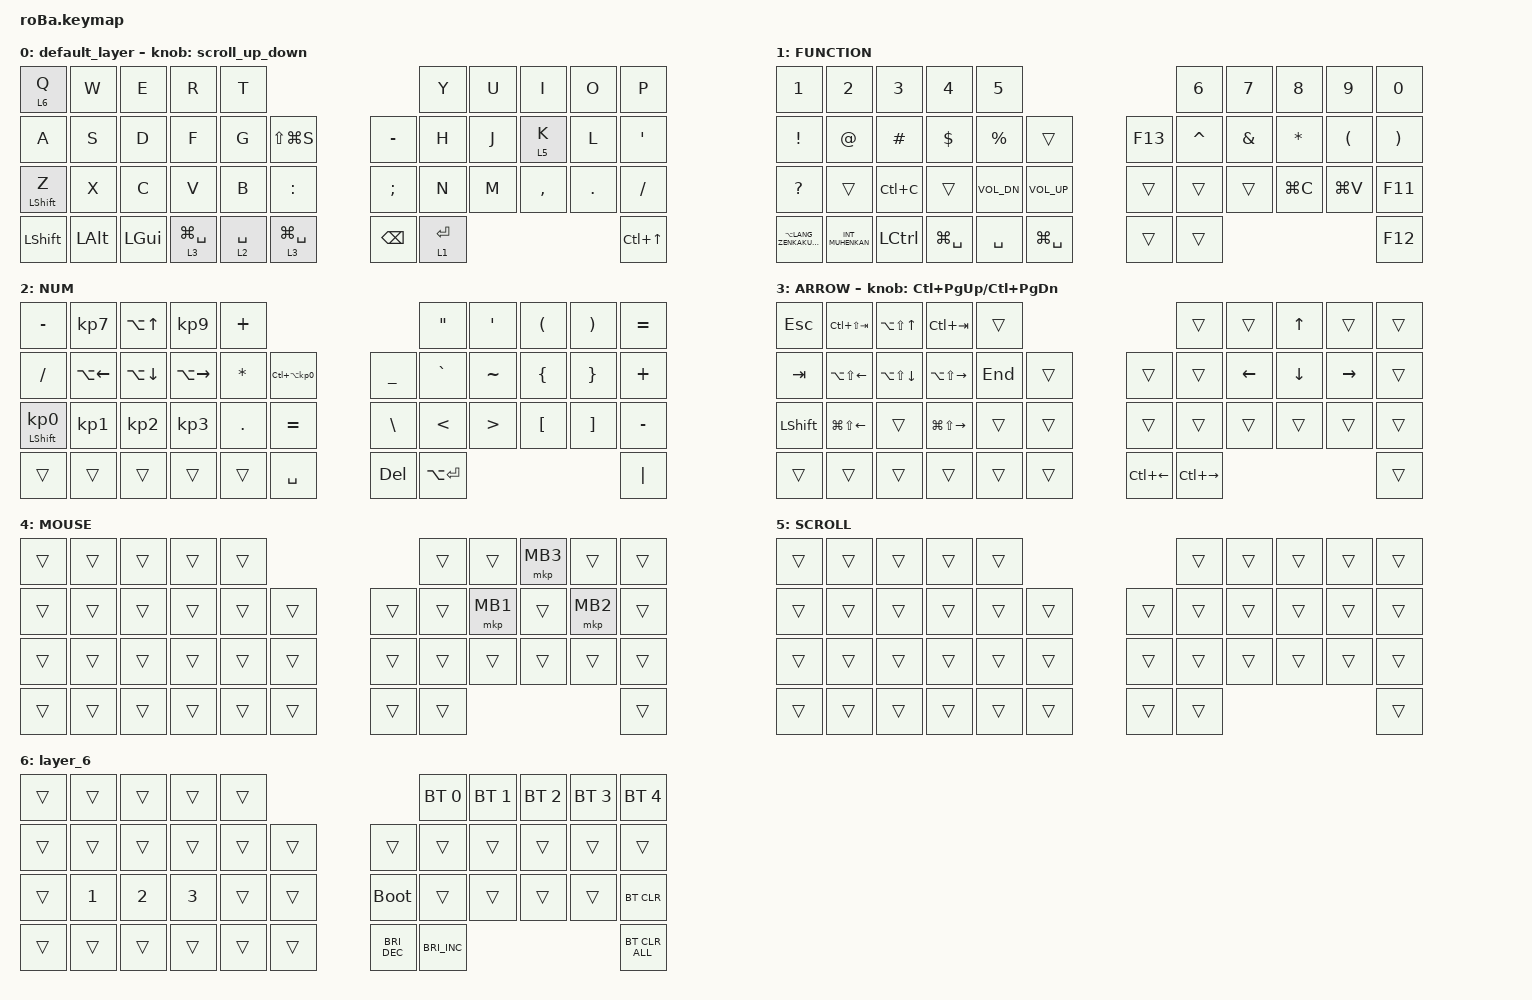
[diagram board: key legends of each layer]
#include <behaviors.dtsi>
#include <dt-bindings/zmk/bt.h>
#include <dt-bindings/zmk/keys.h>
#include <dt-bindings/zmk/pointing.h>

#define ZMK_POINTING_DEFAULT_SCRL_VAL 100
#define MOUSE 4
#define SCROLL 5
#define NUM 6

&mt {
    flavor = "balanced";
    quick-tap-ms = <0>;
};

/ {
    combos {
        compatible = "zmk,combos";

        tab {
            bindings = <&kp TAB>;
            key-positions = <11 12>;
        };

        shift_tab {
            bindings = <&kp LS(TAB)>;
            key-positions = <12 13>;
        };

        muhennkann {
            bindings = <&to_layer_0 INT_MUHENKAN>;
            key-positions = <11 10>;
        };

        double_quotation {
            bindings = <&kp DOUBLE_QUOTES>;
            key-positions = <20 21>;
        };

        eq {
            bindings = <&kp EQUAL>;
            key-positions = <24 25>;
        };
    };

    macros {
        to_layer_0: to_layer_0 {
            compatible = "zmk,behavior-macro-one-param";
            #binding-cells = <1>;
            bindings = <&to 0 &macro_param_1to1 &kp MACRO_PLACEHOLDER>;
            label = "TO_LAYER_0";
        };
    };

    behaviors {
        lt_to_layer_0: lt_to_layer_0 {
            compatible = "zmk,behavior-hold-tap";
            label = "LAYER_TAP_TO_0";
            bindings = <&mo>, <&to_layer_0>;

            #binding-cells = <2>;
            tapping-term-ms = <200>;
        };

        scroll_up_down: behavior_sensor_rotate_mouse_wheel_up_down {
            compatible = "zmk,behavior-sensor-rotate";
            #sensor-binding-cells = <0>;
            bindings = <&msc SCRL_DOWN>, <&msc SCRL_UP>;

            tap-ms = <20>;
        };
    };

    keymap {
        compatible = "zmk,keymap";

        default_layer {
            bindings = <
&lt 6 Q           &kp W         &kp E         &kp R                       &kp T                                                       &kp Y        &kp U  &kp I      &kp O    &kp P
&kp A             &kp S         &kp D         &kp F                       &kp G        &kp LS(LG(S))                   &kp MINUS      &kp H        &kp J  &lt 5 K    &kp L    &kp SQT
&mt LEFT_SHIFT Z  &kp X         &kp C         &kp V                       &kp B        &kp COLON                       &kp SEMICOLON  &kp N        &kp M  &kp COMMA  &kp DOT  &kp SLASH
&kp LEFT_SHIFT    &kp LEFT_ALT  &kp LEFT_GUI  &lt_to_layer_0 3 LG(SPACE)  &lt 2 SPACE  &lt_to_layer_0 3 LG(SPACE)      &kp BACKSPACE  &lt 1 ENTER                             &kp LC(UP_ARROW)
            >;

            sensor-bindings = <&scroll_up_down>;
        };

        FUNCTION {
            bindings = <
&kp NUMBER_1                 &kp NUMBER_2      &kp NUMBER_3      &kp NUMBER_4   &kp N5                                      &kp NUMBER_6  &kp N7         &kp N8        &kp N9                &kp N0
&kp EXCLAMATION              &kp AT_SIGN       &kp HASH          &kp DOLLAR     &kp PERCENT   &trans               &kp F13  &kp CARET     &kp AMPERSAND  &kp ASTERISK  &kp LEFT_PARENTHESIS  &kp RIGHT_PARENTHESIS
&kp QUESTION                 &trans            &kp LC(C)         &trans         &kp C_VOL_DN  &kp C_VOLUME_UP      &trans   &trans        &trans         &kp LG(C)     &kp LG(V)             &kp F11
&kp LA(LANG_ZENKAKUHANKAKU)  &kp INT_MUHENKAN  &kp LEFT_CONTROL  &kp LG(SPACE)  &kp SPACE     &kp LG(SPACE)        &trans   &trans                                                           &kp F12
            >;
        };

        NUM {
            bindings = <
&kp MINUS                   &kp KP_NUMBER_7     &kp LA(UP_ARROW)  &kp KP_NUMBER_9  &kp PLUS                                                   &kp DOUBLE_QUOTES  &kp SINGLE_QUOTE  &kp LEFT_PARENTHESIS  &kp RIGHT_PARENTHESIS  &kp EQUAL
&kp SLASH                   &kp LA(LEFT_ARROW)  &kp LA(DOWN)      &kp LA(RIGHT)    &kp ASTERISK  &kp LC(LA(KP_NUMBER_0))      &kp UNDERSCORE  &kp GRAVE          &kp TILDE         &kp LEFT_BRACE        &kp RIGHT_BRACE        &kp PLUS
&mt LEFT_SHIFT KP_NUMBER_0  &kp KP_NUMBER_1     &kp KP_NUMBER_2   &kp KP_NUMBER_3  &kp PERIOD    &kp EQUAL                    &kp BACKSLASH   &kp LESS_THAN      &kp GREATER_THAN  &kp LEFT_BRACKET      &kp RIGHT_BRACKET      &kp MINUS
&trans                      &trans              &trans            &trans           &trans        &kp SPACE                    &kp DELETE      &kp LA(ENTER)                                                                     &kp PIPE
            >;
        };

        ARROW {
            bindings = <
&kp ESCAPE      &kp LC(LS(TAB))         &kp LA(LS(UP_ARROW))  &kp LC(TAB)              &trans                                   &trans               &trans    &kp UP_ARROW    &trans     &trans
&kp TAB         &kp LA(LS(LEFT_ARROW))  &kp LA(LS(DOWN))      &kp LA(LS(RIGHT_ARROW))  &kp END  &trans      &trans              &trans               &kp LEFT  &kp DOWN_ARROW  &kp RIGHT  &trans
&kp LEFT_SHIFT  &kp LG(LS(LEFT_ARROW))  &trans                &kp LG(LS(RIGHT_ARROW))  &trans   &trans      &trans              &trans               &trans    &trans          &trans     &trans
&trans          &trans                  &trans                &trans                   &trans   &trans      &kp LC(LEFT_ARROW)  &kp LC(RIGHT_ARROW)                                       &trans
            >;

            sensor-bindings = <&inc_dec_kp LC(PAGE_UP) LC(PAGE_DOWN)>;
        };

        MOUSE {
            bindings = <
&trans  &trans  &trans  &trans  &trans                      &trans  &trans    &mkp MB3  &trans    &trans
&trans  &trans  &trans  &trans  &trans  &trans      &trans  &trans  &mkp MB1  &trans    &mkp MB2  &trans
&trans  &trans  &trans  &trans  &trans  &trans      &trans  &trans  &trans    &trans    &trans    &trans
&trans  &trans  &trans  &trans  &trans  &trans      &trans  &trans                                &trans
            >;
        };

        SCROLL {
            bindings = <
&trans  &trans  &trans  &trans  &trans                      &trans  &trans  &trans  &trans  &trans
&trans  &trans  &trans  &trans  &trans  &trans      &trans  &trans  &trans  &trans  &trans  &trans
&trans  &trans  &trans  &trans  &trans  &trans      &trans  &trans  &trans  &trans  &trans  &trans
&trans  &trans  &trans  &trans  &trans  &trans      &trans  &trans                          &trans
            >;
        };

        layer_6 {
            bindings = <
&trans  &trans        &trans        &trans        &trans                                    &bt BT_SEL 0          &bt BT_SEL 1  &bt BT_SEL 2  &bt BT_SEL 3  &bt BT_SEL 4
&trans  &trans        &trans        &trans        &trans  &trans      &trans                &trans                &trans        &trans        &trans        &trans
&trans  &kp NUMBER_1  &kp NUMBER_2  &kp NUMBER_3  &trans  &trans      &bootloader           &trans                &trans        &trans        &trans        &bt BT_CLR
&trans  &trans        &trans        &trans        &trans  &trans      &kp C_BRIGHTNESS_DEC  &kp C_BRIGHTNESS_INC                                            &bt BT_CLR_ALL
            >;
        };
    };
};
